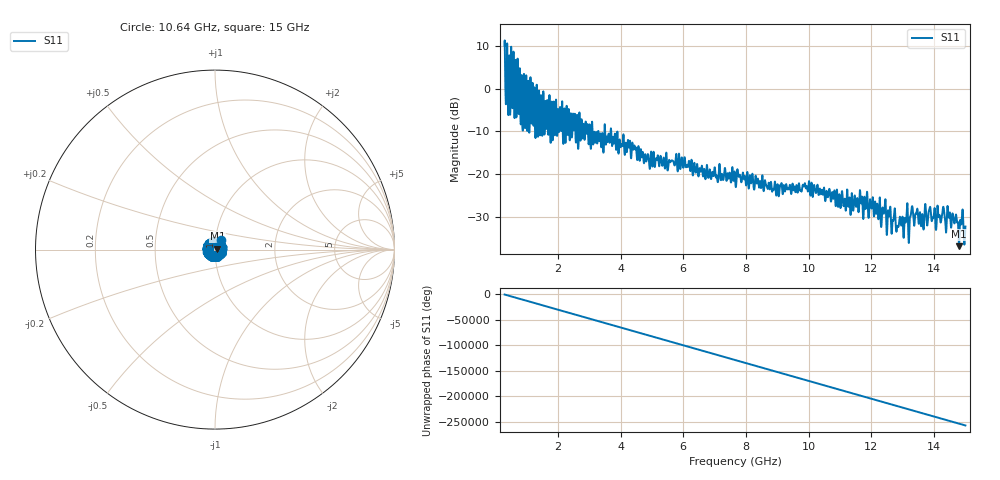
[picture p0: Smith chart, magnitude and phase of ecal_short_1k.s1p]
# GHZ S RI R 50.0
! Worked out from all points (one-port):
!   12801 points, 300 MHz to 15 GHz, reference 50 ohm
!   lowest |S11| = -36.8 dB at 14.8 GHz (marker M1), VSWR 1.03, Z = 51.3 + j0.62 ohm
!   |S11| at or under -10 dB: 3.103 GHz to 3.285 GHz (181.9 MHz wide, 5.7 % of centre); 3.291 GHz to 3.484 GHz (192.6 MHz wide, 5.69 % of centre); 3.7 GHz to end of sweep (the widest 3 of 29)
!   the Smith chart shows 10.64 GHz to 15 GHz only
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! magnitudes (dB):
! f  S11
! 300 MHz  9.9
! 406.8 MHz  -3.6
! 776.6 MHz  1.0
! 814.5 MHz  -8.4
! 884.6 MHz  -9.7
! 1.026 GHz  -9.8
! 1.185 GHz  -0.9
! 1.324 GHz  0.9
! 2.138 GHz  -3.1
! 3.975 GHz  -12.1
! 4.431 GHz  -13.5
! 4.965 GHz  -15.5
! 5.812 GHz  -19.0
! 7.65 GHz  -20.5
! 9.488 GHz  -22.3
! 10.23 GHz  -24.4
! 11.32 GHz  -28.7
! 12 GHz  -28.1
! 12.84 GHz  -32.2
! 13.16 GHz  -29.3
! 13.29 GHz  -27.8
! 13.63 GHz  -29.4
! 13.77 GHz  -31.8
! 14.29 GHz  -27.7
! 14.65 GHz  -31.5
! 14.8 GHz  -36.8
! 14.88 GHz  -30.8
! 15 GHz  -32.3
